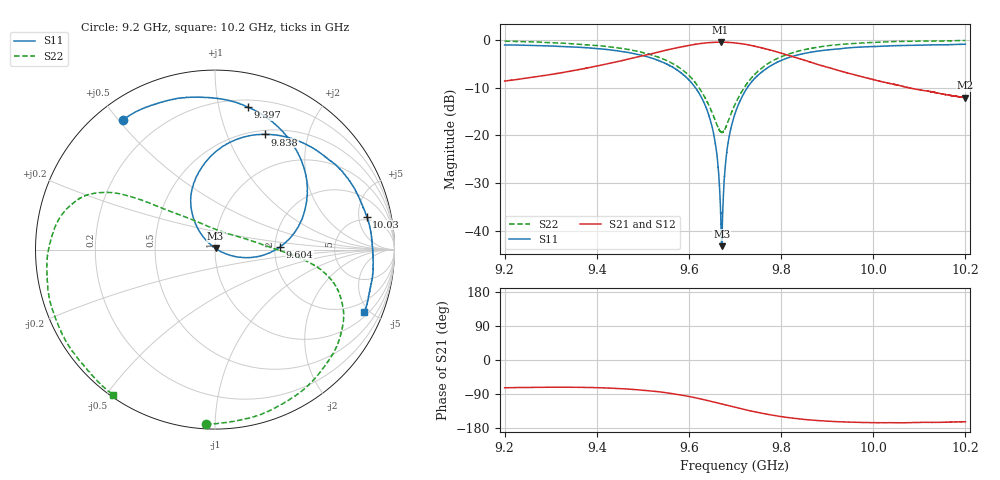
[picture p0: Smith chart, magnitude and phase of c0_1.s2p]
!Agilent Technologies,N5242A,MY51221714,A.09.90.19
!Agilent N5242A: A.09.90.19
!Date: Saturday, December 30, 2023 10:52:26
!Correction: S11(Full 2 Port(1,2))
!S21(Full 2 Port(1,2))
!S12(Full 2 Port(1,2))
!S22(Full 2 Port(1,2))
!S2P File: Measurements: S11, S21, S12, S22:
# Hz S  dB  R 50
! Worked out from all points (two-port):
!   16001 points, 9.2 GHz to 10.2 GHz, reference 50 ohm
!   highest |S21| = -0.45 dB at 9.669 GHz (marker M1); lowest = -12.1 dB at 10.2 GHz (marker M2)
!   |S21| within 3 dB of the highest: 9.493 GHz to 9.823 GHz (330.4 MHz wide, 3.42 % of centre); 9.823462 GHz to 9.823515 GHz (53.73 kHz wide, 0.000547 % of centre)
!   lowest |S11| = -43.3 dB at 9.671 GHz (marker M3), VSWR 1.01, Z = 50.3 + j0.627 ohm
!   |S11| at or under -10 dB: 9.613998 GHz to 9.614004 GHz (5.583 kHz wide, 5.81e-05 % of centre); 9.614 GHz to 9.727 GHz (112.7 MHz wide, 1.17 % of centre)
!   |S22| runs from -19.5 to -0.1 dB; largest |S21 - S12| = 0.015
!   S11 on the Smith chart (normalised r, x): 9.2 GHz: 0.08, +0.52; 9.397 GHz: 0.26, +1.23; 9.604 GHz: 2.13, +0.08; 9.838 GHz: 0.55, +1.38; 10.03 GHz: 4.36, +6.35; 10.2 GHz: 1.24, -4.66
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9.2e9  -1.04 125.3  -8.63 -73.3  -8.60 -74.1  -0.23 -92.9
9.366688e9  -1.56 85.3  -6.12 -72.2  -6.10 -73.0  -0.94 -48.9
9.397438e9  -1.78 76.9  -5.51 -73.0  -5.50 -73.8  -1.14 -41.2
9.533375e9  -4.29 32.7  -2.55 -83.7  -2.53 -84.4  -3.59 -14.1
9.603938e9  -8.83 2.4  -1.07 -97.2  -1.06 -98.0  -7.82 -2.9
9.631312e9  -12.85 -10.5  -0.67 -104.3  -0.66 -105.0  -11.48 5.8
9.650188e9  -18.17 -18.5  -0.52 -109.7  -0.51 -110.5  -15.20 21.0
9.660875e9  -24.18 -21.6  -0.46 -112.8  -0.46 -113.6  -17.79 39.1
9.668625e9  -35.79 -7.2  -0.45 -115.2  -0.45 -115.9  -19.17 60.5
9.671312e9  -43.28 65.5  -0.47 -116.0  -0.45 -116.7  -19.43 70.0
9.67425e9  -33.99 125.7  -0.47 -116.9  -0.45 -117.6  -19.27 79.8
9.678812e9  -26.59 132.9  -0.47 -118.3  -0.46 -119.0  -18.54 94.3
9.683438e9  -22.55 133.5  -0.49 -119.7  -0.48 -120.5  -17.49 105.4
9.7e9  -15.51 127.7  -0.61 -124.7  -0.59 -125.4  -13.52 127.3
9.748688e9  -7.50 103.9  -1.44 -138.2  -1.42 -139.0  -6.66 145.1
9.838e9  -3.10 66.5  -3.87 -155.2  -3.87 -155.9  -2.31 156.3
9.866688e9  -2.52 56.6  -4.73 -158.7  -4.73 -159.4  -1.73 160.5
9.950062e9  -1.62 32.3  -7.07 -164.0  -7.07 -164.7  -0.79 175.8
1.003112e10  -1.26 12.3  -9.03 -165.4  -9.02 -166.3  -0.38 -166.5
1.003338e10  -1.25 11.8  -9.08 -165.4  -9.06 -166.3  -0.37 -166.0
1.019969e10  -0.89 -22.6  -12.12 -162.9  -12.10 -163.9  -0.12 -125.3
1.02e10  -0.89 -22.7  -12.12 -163.0  -12.11 -163.9  -0.11 -125.2
